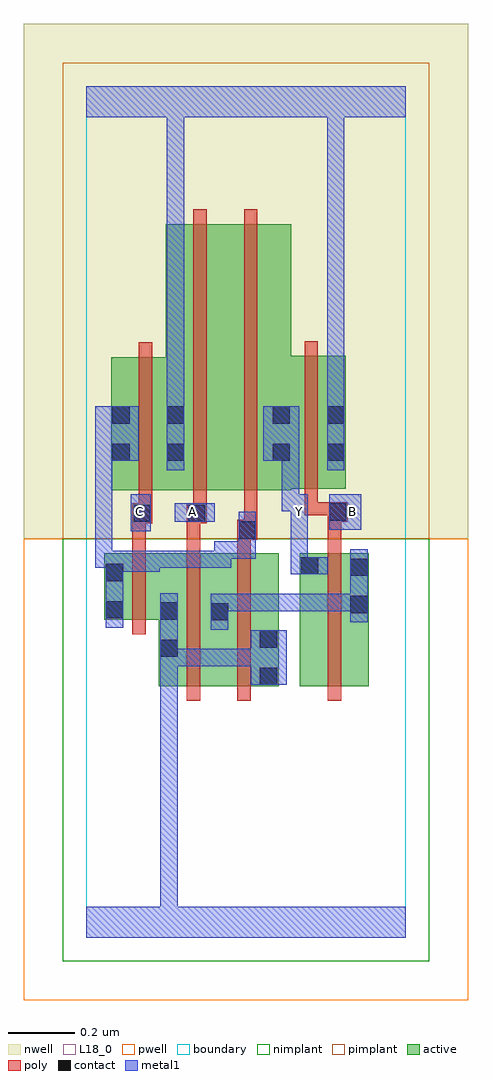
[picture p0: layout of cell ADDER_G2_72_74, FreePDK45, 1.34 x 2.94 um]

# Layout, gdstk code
import gdstk
lib = gdstk.Library(unit=1e-6, precision=1e-09)
def R(c, l, rs):  # rectangles x0, y0, x1, y1
    for r in rs: c.add(gdstk.rectangle(r[:2], r[2:], *l))
active = (1, 0)
pwell = (2, 0)
nwell = (3, 0)
nimplant = (4, 0)
pimplant = (5, 0)
poly = (9, 0)
contact = (10, 0)
metal1 = (11, 0)
L18_0 = (18, 0)
boundary = (235, 0)

adder_g2_72_74 = lib.new_cell('ADDER_G2_72_74')
R(adder_g2_72_74, active, [(0.218,0.756,0.43,1.156), (0.218,0.756,0.278,1.034), (0.37,0.756,0.578,1.156), (0.37,0.756,0.43,1.01), (0.518,0.756,0.578,0.936), (0.642,0.756,0.702,1.156), (0.642,0.756,0.85,1.156), (0.79,0.756,0.85,1.156), (0.054,0.956,0.278,1.156), (0.054,0.956,0.114,1.156), (0.074,1.346,0.134,1.746), (0.074,1.346,0.298,1.746), (0.238,1.346,0.418,2.146), (0.418,1.346,0.616,2.146), (0.556,1.35,0.78,1.75), (0.556,1.35,0.616,2.044), (0.72,1.35,0.78,1.75), (0.238,1.416,0.298,1.716)])
R(adder_g2_72_74, pwell, [(-0.188,-0.188,1.148,1.2)])
R(adder_g2_72_74, nwell, [(-0.188,1.2,1.148,2.748)])
R(adder_g2_72_74, nimplant, [(-0.072,-0.072,1.032,1.2)])
R(adder_g2_72_74, pimplant, [(-0.072,1.2,1.032,2.632)])
R(adder_g2_72_74, poly, [(0.302,0.712,0.342,1.2), (0.454,0.712,0.494,1.2), (0.726,0.712,0.766,1.2), (0.138,0.912,0.178,1.2), (0.138,1.16,0.178,1.286), (0.302,1.16,0.342,1.286), (0.454,1.16,0.494,1.236), (0.726,1.16,0.766,1.29), (0.454,1.196,0.514,1.256), (0.474,1.216,0.514,1.256), (0.474,1.216,0.514,1.256), (0.474,1.216,0.514,1.342), (0.138,1.246,0.178,1.286), (0.138,1.246,0.178,1.286), (0.138,1.246,0.198,1.306), (0.302,1.246,0.342,1.286), (0.302,1.246,0.342,1.286), (0.302,1.246,0.362,1.306), (0.726,1.25,0.786,1.31), (0.158,1.266,0.198,1.342), (0.322,1.266,0.362,1.342), (0.656,1.27,0.696,1.346), (0.656,1.27,0.766,1.31), (0.726,1.27,0.766,1.31), (0.158,1.302,0.198,1.79), (0.322,1.302,0.362,2.19), (0.474,1.302,0.514,2.19), (0.656,1.306,0.696,1.794)])
R(adder_g2_72_74, contact, [(0.522,0.76,0.574,0.812), (0.222,0.844,0.274,0.896), (0.522,0.872,0.574,0.924), (0.374,0.954,0.426,1.006), (0.222,0.956,0.274,1.008), (0.058,0.96,0.11,1.012), (0.794,0.976,0.846,1.028), (0.058,1.072,0.11,1.124), (0.794,1.088,0.846,1.14), (0.646,1.092,0.698,1.144), (0.458,1.2,0.51,1.252), (0.142,1.25,0.194,1.302), (0.306,1.25,0.358,1.302), (0.73,1.254,0.782,1.306), (0.078,1.434,0.13,1.486), (0.242,1.434,0.294,1.486), (0.56,1.434,0.612,1.486), (0.724,1.434,0.776,1.486), (0.078,1.546,0.13,1.598), (0.242,1.546,0.294,1.598), (0.56,1.546,0.612,1.598), (0.724,1.546,0.776,1.598)])
R(adder_g2_72_74, metal1, [(0,0,0.96,0.092), (0.222,0.04,0.274,0.092), (0.222,0.04,0.274,0.092), (0.222,0.04,0.274,0.092), (0.222,0.04,0.274,0.092), (0.222,0.04,0.274,0.092), (0.222,0.04,0.274,0.092), (0.222,0.04,0.274,0.092), (0.222,0.04,0.274,0.092), (0.222,0.04,0.274,0.092), (0.222,0.04,0.274,0.092), (0.222,0.04,0.274,0.868), (0.494,0.76,0.602,0.924), (0.222,0.816,0.274,0.868), (0.222,0.816,0.274,0.868), (0.222,0.816,0.274,0.868), (0.222,0.816,0.274,0.868), (0.222,0.816,0.274,1.036), (0.222,0.816,0.402,0.868), (0.35,0.816,0.402,0.868), (0.35,0.816,0.402,0.868), (0.35,0.816,0.402,0.868), (0.35,0.816,0.546,0.868), (0.374,0.926,0.426,1.034), (0.058,0.932,0.11,1.152), (0.794,0.948,0.846,1.168), (0.374,0.982,0.426,1.034), (0.374,0.982,0.426,1.034), (0.374,0.982,0.556,1.034), (0.504,0.982,0.556,1.034), (0.504,0.982,0.556,1.034), (0.504,0.982,0.556,1.034), (0.504,0.982,0.556,1.034), (0.504,0.982,0.556,1.034), (0.504,0.982,0.846,1.034), (0.794,0.982,0.846,1.034), (0.794,0.982,0.846,1.034), (0.614,1.092,0.666,1.278), (0.614,1.092,0.726,1.144), (0.058,1.1,0.11,1.152), (0.058,1.1,0.11,1.152), (0.058,1.1,0.22,1.152), (0.168,1.1,0.22,1.152), (0.168,1.1,0.22,1.164), (0.026,1.112,0.078,1.164), (0.026,1.112,0.078,1.164), (0.026,1.112,0.078,1.164), (0.026,1.112,0.078,1.164), (0.026,1.112,0.078,1.164), (0.026,1.112,0.22,1.164), (0.026,1.112,0.078,1.486), (0.168,1.112,0.22,1.164), (0.168,1.112,0.22,1.164), (0.168,1.112,0.22,1.164), (0.168,1.112,0.436,1.164), (0.384,1.112,0.436,1.192), (0.384,1.14,0.51,1.192), (0.458,1.14,0.51,1.28), (0.134,1.222,0.194,1.334), (0.614,1.226,0.666,1.334), (0.73,1.226,0.826,1.334), (0.266,1.25,0.386,1.306), (0.588,1.282,0.64,1.486), (0.588,1.282,0.666,1.334), (0.614,1.282,0.666,1.334), (0.242,1.406,0.294,1.626), (0.724,1.406,0.776,1.626), (0.026,1.434,0.158,1.598), (0.532,1.434,0.64,1.598), (0.242,1.574,0.294,1.626), (0.242,1.574,0.294,1.626), (0.242,1.574,0.294,2.52), (0.724,1.574,0.776,1.626), (0.724,1.574,0.776,1.626), (0.724,1.574,0.776,1.626), (0.724,1.574,0.776,1.626), (0.724,1.574,0.776,1.626), (0.724,1.574,0.776,1.626), (0.724,1.574,0.776,1.626), (0.724,1.574,0.776,1.626), (0.724,1.574,0.776,1.626), (0.724,1.574,0.776,1.626), (0.724,1.574,0.776,2.52), (0,2.468,0.96,2.56), (0.242,2.468,0.294,2.52), (0.242,2.468,0.294,2.52), (0.242,2.468,0.294,2.52), (0.242,2.468,0.294,2.52), (0.242,2.468,0.294,2.52), (0.242,2.468,0.294,2.52), (0.724,2.468,0.776,2.52), (0.724,2.468,0.776,2.52), (0.724,2.468,0.776,2.52), (0.724,2.468,0.776,2.52), (0.724,2.468,0.776,2.52), (0.724,2.468,0.776,2.52)])
R(adder_g2_72_74, L18_0, [(0,0,0.96,0.092), (0.222,0.04,0.274,0.092), (0.222,0.04,0.274,0.092), (0.222,0.04,0.274,0.092), (0.222,0.04,0.274,0.092), (0.222,0.04,0.274,0.092), (0.222,0.04,0.274,0.092), (0.222,0.04,0.274,0.092), (0.222,0.04,0.274,0.092), (0.222,0.04,0.274,0.092), (0.222,0.04,0.274,0.092), (0.222,0.04,0.274,0.868), (0.494,0.76,0.602,0.924), (0.222,0.816,0.274,0.868), (0.222,0.816,0.274,0.868), (0.222,0.816,0.274,0.868), (0.222,0.816,0.274,0.868), (0.222,0.816,0.274,1.036), (0.222,0.816,0.402,0.868), (0.35,0.816,0.402,0.868), (0.35,0.816,0.402,0.868), (0.35,0.816,0.402,0.868), (0.35,0.816,0.546,0.868), (0.614,1.092,0.726,1.144), (0.614,1.092,0.666,1.278), (0.134,1.222,0.194,1.334), (0.614,1.226,0.666,1.334), (0.73,1.226,0.826,1.334), (0.266,1.25,0.386,1.306), (0.134,1.254,0.186,1.306), (0.294,1.254,0.346,1.306), (0.614,1.254,0.666,1.306), (0.774,1.254,0.826,1.306), (0.588,1.282,0.666,1.334), (0.588,1.282,0.64,1.486), (0.614,1.282,0.666,1.334), (0.242,1.406,0.294,1.626), (0.724,1.406,0.776,1.626), (0.532,1.434,0.64,1.598), (0.242,1.574,0.294,1.626), (0.242,1.574,0.294,1.626), (0.242,1.574,0.294,2.52), (0.724,1.574,0.776,1.626), (0.724,1.574,0.776,1.626), (0.724,1.574,0.776,1.626), (0.724,1.574,0.776,1.626), (0.724,1.574,0.776,1.626), (0.724,1.574,0.776,1.626), (0.724,1.574,0.776,1.626), (0.724,1.574,0.776,1.626), (0.724,1.574,0.776,1.626), (0.724,1.574,0.776,1.626), (0.724,1.574,0.776,2.52), (0,2.468,0.96,2.56), (0.242,2.468,0.294,2.52), (0.242,2.468,0.294,2.52), (0.242,2.468,0.294,2.52), (0.242,2.468,0.294,2.52), (0.242,2.468,0.294,2.52), (0.242,2.468,0.294,2.52), (0.724,2.468,0.776,2.52), (0.724,2.468,0.776,2.52), (0.724,2.468,0.776,2.52), (0.724,2.468,0.776,2.52), (0.724,2.468,0.776,2.52), (0.724,2.468,0.776,2.52)])
R(adder_g2_72_74, boundary, [(0,0,0.96,2.56)])
adder_g2_72_74.add(gdstk.Label('A', (0.32,1.28), layer=11, texttype=0))
adder_g2_72_74.add(gdstk.Label('B', (0.8,1.28), layer=11, texttype=0))
adder_g2_72_74.add(gdstk.Label('C', (0.16,1.28), layer=11, texttype=0))
adder_g2_72_74.add(gdstk.Label('Y', (0.64,1.28), layer=11, texttype=0))

lib.write_gds('ADDER_G2_72_74.gds')
